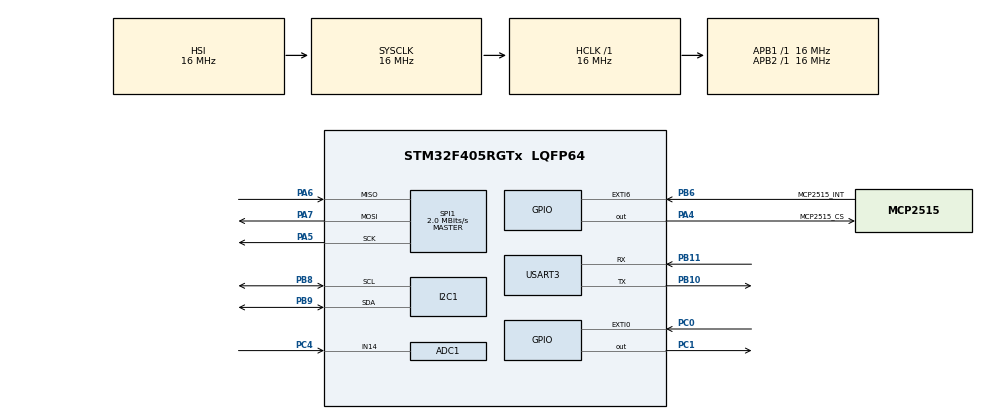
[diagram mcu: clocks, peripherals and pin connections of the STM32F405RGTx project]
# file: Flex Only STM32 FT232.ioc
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ADC1.Channel-0\#ChannelRegularConversion=ADC_CHANNEL_14
ADC1.NbrOfConversionFlag=1
ADC1.Rank-0\#ChannelRegularConversion=1
ADC1.SamplingTime-0\#ChannelRegularConversion=ADC_SAMPLETIME_3CYCLES
ADC1.master=1
Mcu.Family=STM32F4
Mcu.Name=STM32F405RGTx
Mcu.Package=LQFP64
NVIC.PriorityGroup=NVIC_PRIORITYGROUP_4
PA13.Mode=Serial_Wire
PA13.Signal=SYS_JTMS-SWDIO
PA14.Mode=Serial_Wire
PA14.Signal=SYS_JTCK-SWCLK
PA4.GPIO_Label=MCP2515_CS
PA4.Signal=GPIO_Output
PA5.Mode=Full_Duplex_Master
PA5.Signal=SPI1_SCK
PA6.Mode=Full_Duplex_Master
PA6.Signal=SPI1_MISO
PA7.Mode=Full_Duplex_Master
PA7.Signal=SPI1_MOSI
PB10.Mode=Asynchronous
PB10.Signal=USART3_TX
PB11.Mode=Asynchronous
PB11.Signal=USART3_RX
PB6.GPIO_Label=MCP2515_INT
PB6.Signal=GPXTI6
PB8.Mode=I2C
PB8.Signal=I2C1_SCL
PB9.Mode=I2C
PB9.Signal=I2C1_SDA
PC0.Signal=GPXTI0
PC1.Signal=GPIO_Output
PC4.Signal=ADCx_IN14
ProjectManager.HeapSize=0x200
ProjectManager.StackSize=0x400
ProjectManager.TargetToolchain=STM32CubeIDE
RCC.AHBFreq_Value=16000000
RCC.APB1Freq_Value=16000000
RCC.APB2Freq_Value=16000000
RCC.CortexFreq_Value=16000000
RCC.HSE_VALUE=25000000
RCC.HSI_VALUE=16000000
RCC.LSE_VALUE=32768
RCC.SYSCLKFreq_VALUE=16000000
RCC.VCOOutputFreq_Value=192000000
SH.ADCx_IN14.0=ADC1_IN14,IN14
SPI1.BaudRatePrescaler=SPI_BAUDRATEPRESCALER_8
SPI1.CalculateBaudRate=2.0 MBits/s
SPI1.Direction=SPI_DIRECTION_2LINES
SPI1.Mode=SPI_MODE_MASTER
SPI1.VirtualType=VM_MASTER
USART3.VirtualMode=VM_ASYNC
board=custom

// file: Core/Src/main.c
/* USER CODE BEGIN Header */
/**
 ******************************************************************************
 * @file           : main.c
 * @brief          : Main program body
 ******************************************************************************
 * @attention
 *
 * Copyright (c) 2026 STMicroelectronics.
 * All rights reserved.
 *
 * This software is licensed under terms that can be found in the LICENSE file
 * in the root directory of this software component.
 * If no LICENSE file comes with this software, it is provided AS-IS.
 *
 ******************************************************************************
 */
/* USER CODE END Header */
#include "main.h"
#include "bno085_stm32_hal.h"
#include "sh2.h"
#include "sh2_err.h"
#include "sh2_SensorValue.h"

/* USER CODE BEGIN Includes */
#include <stdio.h>
#include <string.h>
/* USER CODE END Includes */

/* USER CODE BEGIN PD */
#define FLEX_STRAIGHT_RAW 2135U
#define FLEX_BENT_RAW 1144U
#define TELEMETRY_INTERVAL_MS 200U
#define MCP2515_CAN_ID_QUATERNION 0x100U
#define MCP2515_CAN_ID_FLEX 0x101U
#define MCP2515_CAN_ID_ACCELERATION 0x102U
#define MCP2515_SPI_TIMEOUT_MS 10U
#define MCP2515_MODE_TIMEOUT_MS 100U
/* USER CODE END PD */

ADC_HandleTypeDef hadc1;

I2C_HandleTypeDef hi2c1;

SPI_HandleTypeDef hspi1;

UART_HandleTypeDef huart3;

/* USER CODE BEGIN PV */

/* ADC raw value (12-bit: 0–4095) */
static uint32_t adc_raw = 0;

/* Transmit buffer for flex, quaternion, and acceleration telemetry */
static char tx_buf[256];

static volatile uint8_t bno_reset_seen;
static volatile uint8_t quat_valid;
static volatile uint8_t accel_valid;
static volatile float quat_i;
static volatile float quat_j;
static volatile float quat_k;
static volatile float quat_real = 1.0f;
static volatile float accel_x;
static volatile float accel_y;
static volatile float accel_z;
static uint8_t bno_connected;
static uint8_t mcp2515_ready;

/* USER CODE END PV */

void SystemClock_Config(void);
static void MX_GPIO_Init(void);
static void MX_ADC1_Init(void);
static void MX_USART3_UART_Init(void);
static void MX_I2C1_Init(void);
static void MX_SPI1_Init(void);
/* USER CODE BEGIN PFP */
static void BNO085_EventCallback(void *cookie, sh2_AsyncEvent_t *event);
static void BNO085_SensorCallback(void *cookie, sh2_SensorEvent_t *event);
static void FormatQuatComponent(char *buffer, size_t buffer_len, float value);
static void FormatAccelComponent(char *buffer, size_t buffer_len, float value);
static uint8_t MCP2515_Init(void);
static uint8_t MCP2515_SetMode(uint8_t mode);
static HAL_StatusTypeDef MCP2515_ReadRegister(uint8_t address, uint8_t *value);
static HAL_StatusTypeDef MCP2515_WriteRegisters(uint8_t address,
                                                const uint8_t *data,
                                                uint8_t length);
static HAL_StatusTypeDef MCP2515_BitModify(uint8_t address, uint8_t mask,
                                           uint8_t value);
static HAL_StatusTypeDef MCP2515_SendFrame(uint16_t id, const uint8_t *data,
                                           uint8_t length);
/* USER CODE END PFP */

/* USER CODE BEGIN 0 */

/**
 * @brief  Send a null-terminated string over USART3.
 * @param  str  Pointer to the string to transmit.
 */
static void UART_Print(const char *str)
{
  HAL_UART_Transmit(&huart3, (uint8_t *)str, (uint16_t)strlen(str), HAL_MAX_DELAY);
}

/**
 * @brief  Read a single conversion from ADC1 (Channel 14, PC4).
 * @return 12-bit ADC result (0–4095).
 */
static uint32_t ADC_ReadChannel(void)
{
  HAL_ADC_Start(&hadc1);
  HAL_ADC_PollForConversion(&hadc1, HAL_MAX_DELAY);
  uint32_t val = HAL_ADC_GetValue(&hadc1);
  HAL_ADC_Stop(&hadc1);
  return val;
}

static void BNO085_EventCallback(void *cookie, sh2_AsyncEvent_t *event)
{
  (void)cookie;

  if (event != NULL && event->eventId == SH2_RESET)
  {
    quat_valid = 0U;
    accel_valid = 0U;
    bno_reset_seen = 1U;
  }
}

static void BNO085_SensorCallback(void *cookie, sh2_SensorEvent_t *event)
{
  sh2_SensorValue_t value;

  (void)cookie;

  if (event == NULL || sh2_decodeSensorEvent(&value, event) != SH2_OK)
  {
    return;
  }

  if (value.sensorId == SH2_ACCELEROMETER)
  {
    accel_x = value.un.accelerometer.x;
    accel_y = value.un.accelerometer.y;
    accel_z = value.un.accelerometer.z;
    accel_valid = 1U;
    return;
  }

  if (value.sensorId != SH2_ROTATION_VECTOR)
  {
    return;
  }

  quat_i = value.un.rotationVector.i;
  quat_j = value.un.rotationVector.j;
  quat_k = value.un.rotationVector.k;
  quat_real = value.un.rotationVector.real;
  quat_valid = 1U;
}

static void FormatQuatComponent(char *buffer, size_t buffer_len, float value)
{
  int32_t scaled = (int32_t)(value * 10000.0f);
  const char *sign = (scaled < 0) ? "-" : " ";

  if (scaled < 0)
  {
    scaled = -scaled;
  }

  snprintf(buffer, buffer_len, "%s%ld.%04ld", sign,
           (long)(scaled / 10000), (long)(scaled % 10000));
}

static void FormatAccelComponent(char *buffer, size_t buffer_len, float value)
{
  int32_t scaled = (int32_t)(value * 100.0f);
  const char *sign = (scaled < 0) ? "-" : " ";

  if (scaled < 0)
  {
    scaled = -scaled;
  }

  snprintf(buffer, buffer_len, "%s%ld.%02ld", sign,
           (long)(scaled / 100), (long)(scaled % 100));
}

#define MCP2515_CMD_RESET 0xC0U
#define MCP2515_CMD_READ 0x03U
#define MCP2515_CMD_WRITE 0x02U
#define MCP2515_CMD_BIT_MODIFY 0x05U
#define MCP2515_CMD_RTS 0x80U
#define MCP2515_REG_CANSTAT 0x0EU
#define MCP2515_REG_CANCTRL 0x0FU
#define MCP2515_REG_CNF3 0x28U
#define MCP2515_REG_CNF2 0x29U
#define MCP2515_REG_CNF1 0x2AU
#define MCP2515_REG_CANINTE 0x2BU
#define MCP2515_REG_TXB0CTRL 0x30U
#define MCP2515_REG_TXB1CTRL 0x40U
#define MCP2515_REG_TXB2CTRL 0x50U
#define MCP2515_TXREQ_MASK 0x08U
#define MCP2515_MODE_MASK 0xE0U
#define MCP2515_MODE_CONFIG 0x80U
#define MCP2515_MODE_NORMAL 0x00U

static void MCP2515_Select(void)
{
  HAL_GPIO_WritePin(MCP2515_CS_GPIO_Port, MCP2515_CS_Pin, GPIO_PIN_RESET);
}

static void MCP2515_Deselect(void)
{
  HAL_GPIO_WritePin(MCP2515_CS_GPIO_Port, MCP2515_CS_Pin, GPIO_PIN_SET);
}

static HAL_StatusTypeDef MCP2515_Command(uint8_t command)
{
  HAL_StatusTypeDef status;

  MCP2515_Select();
  status = HAL_SPI_Transmit(&hspi1, &command, 1U, MCP2515_SPI_TIMEOUT_MS);
  MCP2515_Deselect();
  return status;
}

static HAL_StatusTypeDef MCP2515_ReadRegister(uint8_t address, uint8_t *value)
{
  uint8_t command[2] = {MCP2515_CMD_READ, address};
  uint8_t dummy = 0U;
  HAL_StatusTypeDef status;

  MCP2515_Select();
  status = HAL_SPI_Transmit(&hspi1, command, sizeof(command),
                            MCP2515_SPI_TIMEOUT_MS);
  if (status == HAL_OK)
  {
    status = HAL_SPI_TransmitReceive(&hspi1, &dummy, value, 1U,
                                     MCP2515_SPI_TIMEOUT_MS);
  }
  MCP2515_Deselect();
  return status;
}

static HAL_StatusTypeDef MCP2515_WriteRegisters(uint8_t address,
                                                const uint8_t *data,
                                                uint8_t length)
{
  uint8_t command[2] = {MCP2515_CMD_WRITE, address};
  HAL_StatusTypeDef status;

  MCP2515_Select();
  status = HAL_SPI_Transmit(&hspi1, command, sizeof(command),
                            MCP2515_SPI_TIMEOUT_MS);
  if (status == HAL_OK)
  {
    status = HAL_SPI_Transmit(&hspi1, (uint8_t *)data, length,
                              MCP2515_SPI_TIMEOUT_MS);
  }
  MCP2515_Deselect();
  return status;
}

static HAL_StatusTypeDef MCP2515_BitModify(uint8_t address, uint8_t mask,
                                           uint8_t value)
{
  uint8_t command[4] = {MCP2515_CMD_BIT_MODIFY, address, mask, value};
  HAL_StatusTypeDef status;

  MCP2515_Select();
  status = HAL_SPI_Transmit(&hspi1, command, sizeof(command),
                            MCP2515_SPI_TIMEOUT_MS);
  MCP2515_Deselect();
  return status;
}

static uint8_t MCP2515_SetMode(uint8_t mode)
{
  uint32_t start_tick;
  uint8_t can_status;

  if (MCP2515_BitModify(MCP2515_REG_CANCTRL, MCP2515_MODE_MASK, mode) != HAL_OK)
  {
    return 0U;
  }

  start_tick = HAL_GetTick();
  do
  {
    if (MCP2515_ReadRegister(MCP2515_REG_CANSTAT, &can_status) != HAL_OK)
    {
      return 0U;
    }
    if ((can_status & MCP2515_MODE_MASK) == mode)
    {
      return 1U;
    }
  } while ((uint32_t)(HAL_GetTick() - start_tick) < MCP2515_MODE_TIMEOUT_MS);

  return 0U;
}

static uint8_t MCP2515_Init(void)
{
  const uint8_t cnf1 = 0x00U;
  const uint8_t cnf2 = 0x90U;
  const uint8_t cnf3 = 0x02U;
  const uint8_t interrupts_disabled = 0x00U;

  MCP2515_Deselect();
  if (MCP2515_Command(MCP2515_CMD_RESET) != HAL_OK)
  {
    return 0U;
  }
  HAL_Delay(2U);

  if (!MCP2515_SetMode(MCP2515_MODE_CONFIG) ||
      MCP2515_WriteRegisters(MCP2515_REG_CNF1, &cnf1, 1U) != HAL_OK ||
      MCP2515_WriteRegisters(MCP2515_REG_CNF2, &cnf2, 1U) != HAL_OK ||
      MCP2515_WriteRegisters(MCP2515_REG_CNF3, &cnf3, 1U) != HAL_OK ||
      MCP2515_WriteRegisters(MCP2515_REG_CANINTE, &interrupts_disabled, 1U) != HAL_OK ||
      !MCP2515_SetMode(MCP2515_MODE_NORMAL))
  {
    return 0U;
  }

  return 1U;
}

static HAL_StatusTypeDef MCP2515_SendFrame(uint16_t id, const uint8_t *data,
                                           uint8_t length)
{
  static const uint8_t tx_control_addresses[3] = {
      MCP2515_REG_TXB0CTRL, MCP2515_REG_TXB1CTRL, MCP2515_REG_TXB2CTRL};
  uint8_t tx_control;
  uint8_t tx_buffer[13];
  uint8_t buffer_index;

  if (id > 0x7FFU || length > 8U || data == NULL)
  {
    return HAL_ERROR;
  }

  for (buffer_index = 0U; buffer_index < 3U; buffer_index++)
  {
    if (MCP2515_ReadRegister(tx_control_addresses[buffer_index],
                            &tx_control) != HAL_OK)
    {
      return HAL_ERROR;
    }
    if ((tx_control & MCP2515_TXREQ_MASK) == 0U)
    {
      break;
    }
  }
  if (buffer_index == 3U)
  {
    return HAL_BUSY;
  }

  tx_buffer[0] = (uint8_t)(id >> 3);
  tx_buffer[1] = (uint8_t)((id & 0x07U) << 5);
  tx_buffer[2] = 0U;
  tx_buffer[3] = 0U;
  tx_buffer[4] = length;
  memcpy(&tx_buffer[5], data, length);

  if (MCP2515_WriteRegisters((uint8_t)(tx_control_addresses[buffer_index] + 1U),
                             tx_buffer, (uint8_t)(length + 5U)) != HAL_OK)
  {
    return HAL_ERROR;
  }

  return MCP2515_Command((uint8_t)(MCP2515_CMD_RTS | (1U << buffer_index)));
}

static int16_t MCP2515_ScaleQuaternion(float value)
{
  return (int16_t)(value * 10000.0f);
}

static int16_t MCP2515_ScaleAcceleration(float value)
{
  return (int16_t)(value * 100.0f);
}

static void MCP2515_StoreInt16LE(uint8_t *data, int16_t value)
{
  uint16_t bits = (uint16_t)value;
  data[0] = (uint8_t)bits;
  data[1] = (uint8_t)(bits >> 8);
}

/* USER CODE END 0 */

int main(void)
{

  /* MCU Configuration--------------------------------------------------------*/

  /* Reset of all peripherals, Initializes the Flash interface and the Systick. */
  HAL_Init();

  /* Configure the system clock */
  SystemClock_Config();

  /* Initialize all configured peripherals */
  MX_GPIO_Init();
  MX_ADC1_Init();
  MX_USART3_UART_Init();
  MX_I2C1_Init();
  MX_SPI1_Init();
  /* USER CODE BEGIN 2 */

  /* -----------------------------------------------------------
   * Startup banner sent over UART to the PC (via FT232).
   * Open any serial terminal at 115200-8-N-1 to see output.
   * ----------------------------------------------------------- */
  UART_Print("\r\n=== STM32F405 Flex Sensor & BNO085 Telemetry ===\r\n");
  UART_Print("ADC: PC4 (CH14) | USART3: PB10/PB11 | 115200-8-N-1\r\n");
  UART_Print("BNO085 I2C1: PB8(SCL), PB9(SDA), INT: PC0, RST: PC1, addr: 0x4B\r\n");

  mcp2515_ready = MCP2515_Init();
  if (mcp2515_ready)
  {
    UART_Print("MCP2515: initialized for 500 kbit/s (8 MHz crystal)\r\n");
  }
  else
  {
    UART_Print("MCP2515: initialization failed; CAN telemetry disabled\r\n");
  }

  if (sh2_open(BNO085_STM32_HAL_Init(), BNO085_EventCallback, NULL) != SH2_OK)
  {
    UART_Print("BNO085: SH-2 initialization failed\r\n");
  }
  else if (sh2_setSensorCallback(BNO085_SensorCallback, NULL) != SH2_OK)
  {
    UART_Print("BNO085: sensor callback registration failed\r\n");
    sh2_close();
  }
  else
  {
    bno_connected = 1U;
    UART_Print("BNO085: connected; waiting for reset event and sensor data\r\n");
  }

  /* USER CODE END 2 */

  /* Infinite loop */
  /* USER CODE BEGIN WHILE */
  uint32_t last_telemetry_tick = HAL_GetTick() - TELEMETRY_INTERVAL_MS;
  while (1)
  {
    if (bno_connected)
    {
      sh2_service();

      if (bno_reset_seen)
      {
        sh2_SensorConfig_t config = {0};
        bno_reset_seen = 0U;
        config.reportInterval_us = 20000U;

        if (sh2_setSensorConfig(SH2_ROTATION_VECTOR, &config) != SH2_OK)
        {
          UART_Print("BNO085: failed to enable Rotation Vector report\r\n");
        }
        if (sh2_setSensorConfig(SH2_ACCELEROMETER, &config) != SH2_OK)
        {
          UART_Print("BNO085: failed to enable Accelerometer report\r\n");
        }
      }
    }

    uint32_t now = HAL_GetTick();
    if ((uint32_t)(now - last_telemetry_tick) >= TELEMETRY_INTERVAL_MS)
    {
      char str_i[14], str_j[14], str_k[14], str_real[14];
      char str_ax[14], str_ay[14], str_az[14];
      uint32_t voltage_mv;
      int32_t bend_pct;

      last_telemetry_tick = now;
      adc_raw = ADC_ReadChannel();
      voltage_mv = (adc_raw * 3300UL) / 4095UL;

      if (adc_raw >= FLEX_STRAIGHT_RAW)
      {
        bend_pct = 0;
      }
      else if (adc_raw <= FLEX_BENT_RAW)
      {
        bend_pct = 100;
      }
      else
      {
        bend_pct = (int32_t)((FLEX_STRAIGHT_RAW - adc_raw) * 100UL /
                             (FLEX_STRAIGHT_RAW - FLEX_BENT_RAW));
      }

      if (bno_connected && quat_valid)
      {
        FormatQuatComponent(str_i, sizeof(str_i), quat_i);
        FormatQuatComponent(str_j, sizeof(str_j), quat_j);
        FormatQuatComponent(str_k, sizeof(str_k), quat_k);
        FormatQuatComponent(str_real, sizeof(str_real), quat_real);
      }
      if (bno_connected && accel_valid)
      {
        FormatAccelComponent(str_ax, sizeof(str_ax), accel_x);
        FormatAccelComponent(str_ay, sizeof(str_ay), accel_y);
        FormatAccelComponent(str_az, sizeof(str_az), accel_z);
      }

      if (bno_connected && quat_valid && accel_valid)
      {
        snprintf(tx_buf, sizeof(tx_buf),
                 "Volt: %lu.%03lu V | Bend: %3ld%% | Quat: [i:%s j:%s k:%s real:%s] | Accel (m/s^2): [ax:%s ay:%s az:%s]\r\n",
                 (unsigned long)(voltage_mv / 1000UL),
                 (unsigned long)(voltage_mv % 1000UL),
                 (long)bend_pct, str_i, str_j, str_k, str_real,
                 str_ax, str_ay, str_az);
      }
      else if (bno_connected && quat_valid)
      {
        snprintf(tx_buf, sizeof(tx_buf),
                 "Volt: %lu.%03lu V | Bend: %3ld%% | Quat: [i:%s j:%s k:%s real:%s] | Accel: waiting\r\n",
                 (unsigned long)(voltage_mv / 1000UL),
                 (unsigned long)(voltage_mv % 1000UL),
                 (long)bend_pct, str_i, str_j, str_k, str_real);
      }
      else if (bno_connected && accel_valid)
      {
        snprintf(tx_buf, sizeof(tx_buf),
                 "Volt: %lu.%03lu V | Bend: %3ld%% | Quat: waiting | Accel (m/s^2): [ax:%s ay:%s az:%s]\r\n",
                 (unsigned long)(voltage_mv / 1000UL),
                 (unsigned long)(voltage_mv % 1000UL),
                 (long)bend_pct, str_ax, str_ay, str_az);
      }
      else if (bno_connected)
      {
        snprintf(tx_buf, sizeof(tx_buf),
                 "Volt: %lu.%03lu V | Bend: %3ld%% | BNO085: FOUND, waiting for sensor data\r\n",
                 (unsigned long)(voltage_mv / 1000UL),
                 (unsigned long)(voltage_mv % 1000UL),
                 (long)bend_pct);
      }
      else
      {
        snprintf(tx_buf, sizeof(tx_buf),
                 "Volt: %lu.%03lu V | Bend: %3ld%% | BNO085: NOT FOUND\r\n",
                 (unsigned long)(voltage_mv / 1000UL),
                 (unsigned long)(voltage_mv % 1000UL),
                 (long)bend_pct);
      }

      UART_Print(tx_buf);

      if (mcp2515_ready)
      {
        uint8_t flex_data[8] = {0};
        HAL_StatusTypeDef can_status;

        flex_data[0] = (uint8_t)adc_raw;
        flex_data[1] = (uint8_t)(adc_raw >> 8);
        flex_data[2] = (uint8_t)bend_pct;
        can_status = MCP2515_SendFrame(MCP2515_CAN_ID_FLEX, flex_data,
                                       sizeof(flex_data));
        if (can_status != HAL_OK)
        {
          UART_Print("MCP2515: flex CAN frame transmit failed\r\n");
        }

        if (bno_connected && quat_valid)
        {
          uint8_t quaternion_data[8];
          MCP2515_StoreInt16LE(&quaternion_data[0], MCP2515_ScaleQuaternion(quat_i));
          MCP2515_StoreInt16LE(&quaternion_data[2], MCP2515_ScaleQuaternion(quat_j));
          MCP2515_StoreInt16LE(&quaternion_data[4], MCP2515_ScaleQuaternion(quat_k));
          MCP2515_StoreInt16LE(&quaternion_data[6], MCP2515_ScaleQuaternion(quat_real));
          can_status = MCP2515_SendFrame(MCP2515_CAN_ID_QUATERNION,
                                         quaternion_data,
                                         sizeof(quaternion_data));
          if (can_status != HAL_OK)
          {
            UART_Print("MCP2515: quaternion CAN frame transmit failed\r\n");
          }
        }

        if (bno_connected && accel_valid)
        {
          uint8_t acceleration_data[8] = {0};
          MCP2515_StoreInt16LE(&acceleration_data[0],
                               MCP2515_ScaleAcceleration(accel_x));
          MCP2515_StoreInt16LE(&acceleration_data[2],
                               MCP2515_ScaleAcceleration(accel_y));
          MCP2515_StoreInt16LE(&acceleration_data[4],
                               MCP2515_ScaleAcceleration(accel_z));
          can_status = MCP2515_SendFrame(MCP2515_CAN_ID_ACCELERATION,
                                         acceleration_data,
                                         sizeof(acceleration_data));
          if (can_status != HAL_OK)
          {
            UART_Print("MCP2515: acceleration CAN frame transmit failed\r\n");
          }
        }
      }
    }

    HAL_Delay(1U);
    /* USER CODE END WHILE */

  }
}

void SystemClock_Config(void)
{
  RCC_OscInitTypeDef RCC_OscInitStruct = {0};
  RCC_ClkInitTypeDef RCC_ClkInitStruct = {0};

  /** Configure the main internal regulator output voltage
  */
  __HAL_RCC_PWR_CLK_ENABLE();
  __HAL_PWR_VOLTAGESCALING_CONFIG(PWR_REGULATOR_VOLTAGE_SCALE1);

  /** Initializes the RCC Oscillators according to the specified parameters
  * in the RCC_OscInitTypeDef structure.
  */
  RCC_OscInitStruct.OscillatorType = RCC_OSCILLATORTYPE_HSI;
  RCC_OscInitStruct.HSIState = RCC_HSI_ON;
  RCC_OscInitStruct.HSICalibrationValue = RCC_HSICALIBRATION_DEFAULT;
  RCC_OscInitStruct.PLL.PLLState = RCC_PLL_NONE;
  if (HAL_RCC_OscConfig(&RCC_OscInitStruct) != HAL_OK)
  {
    Error_Handler();
  }

  /** Initializes the CPU, AHB and APB buses clocks
  */
  RCC_ClkInitStruct.ClockType = RCC_CLOCKTYPE_HCLK|RCC_CLOCKTYPE_SYSCLK
                              |RCC_CLOCKTYPE_PCLK1|RCC_CLOCKTYPE_PCLK2;
  RCC_ClkInitStruct.SYSCLKSource = RCC_SYSCLKSOURCE_HSI;
  RCC_ClkInitStruct.AHBCLKDivider = RCC_SYSCLK_DIV1;
  RCC_ClkInitStruct.APB1CLKDivider = RCC_HCLK_DIV1;
  RCC_ClkInitStruct.APB2CLKDivider = RCC_HCLK_DIV1;

  if (HAL_RCC_ClockConfig(&RCC_ClkInitStruct, FLASH_LATENCY_0) != HAL_OK)
  {
    Error_Handler();
  }
}

static void MX_ADC1_Init(void)
{

  ADC_ChannelConfTypeDef sConfig = {0};

  /** Configure the global features of the ADC (Clock, Resolution, Data Alignment and number of conversion)
  */
  hadc1.Instance = ADC1;
  hadc1.Init.ClockPrescaler = ADC_CLOCK_SYNC_PCLK_DIV2;
  hadc1.Init.Resolution = ADC_RESOLUTION_12B;
  hadc1.Init.ScanConvMode = DISABLE;
  hadc1.Init.ContinuousConvMode = DISABLE;
  hadc1.Init.DiscontinuousConvMode = DISABLE;
  hadc1.Init.ExternalTrigConvEdge = ADC_EXTERNALTRIGCONVEDGE_NONE;
  hadc1.Init.ExternalTrigConv = ADC_SOFTWARE_START;
  hadc1.Init.DataAlign = ADC_DATAALIGN_RIGHT;
  hadc1.Init.NbrOfConversion = 1;
  hadc1.Init.DMAContinuousRequests = DISABLE;
  hadc1.Init.EOCSelection = ADC_EOC_SINGLE_CONV;
  if (HAL_ADC_Init(&hadc1) != HAL_OK)
  {
    Error_Handler();
  }

  /** Configure for the selected ADC regular channel its corresponding rank in the sequencer and its sample time.
  */
  sConfig.Channel = ADC_CHANNEL_14;
  sConfig.Rank = 1;
  sConfig.SamplingTime = ADC_SAMPLETIME_3CYCLES;
  if (HAL_ADC_ConfigChannel(&hadc1, &sConfig) != HAL_OK)
  {
    Error_Handler();
  }

}

static void MX_I2C1_Init(void)
{

  hi2c1.Instance = I2C1;
  hi2c1.Init.ClockSpeed = 100000;
  hi2c1.Init.DutyCycle = I2C_DUTYCYCLE_2;
  hi2c1.Init.OwnAddress1 = 0;
  hi2c1.Init.AddressingMode = I2C_ADDRESSINGMODE_7BIT;
  hi2c1.Init.DualAddressMode = I2C_DUALADDRESS_DISABLE;
  hi2c1.Init.OwnAddress2 = 0;
  hi2c1.Init.GeneralCallMode = I2C_GENERALCALL_DISABLE;
  hi2c1.Init.NoStretchMode = I2C_NOSTRETCH_DISABLE;
  if (HAL_I2C_Init(&hi2c1) != HAL_OK)
  {
    Error_Handler();
  }

}

static void MX_SPI1_Init(void)
{

  /* SPI1 parameter configuration*/
  hspi1.Instance = SPI1;
  hspi1.Init.Mode = SPI_MODE_MASTER;
  hspi1.Init.Direction = SPI_DIRECTION_2LINES;
  hspi1.Init.DataSize = SPI_DATASIZE_8BIT;
  hspi1.Init.CLKPolarity = SPI_POLARITY_LOW;
  hspi1.Init.CLKPhase = SPI_PHASE_1EDGE;
  hspi1.Init.NSS = SPI_NSS_SOFT;
  hspi1.Init.BaudRatePrescaler = SPI_BAUDRATEPRESCALER_8;
  hspi1.Init.FirstBit = SPI_FIRSTBIT_MSB;
  hspi1.Init.TIMode = SPI_TIMODE_DISABLE;
  hspi1.Init.CRCCalculation = SPI_CRCCALCULATION_DISABLE;
  hspi1.Init.CRCPolynomial = 10;
  if (HAL_SPI_Init(&hspi1) != HAL_OK)
  {
    Error_Handler();
  }

}

static void MX_USART3_UART_Init(void)
{

  huart3.Instance = USART3;
  huart3.Init.BaudRate = 115200;
  huart3.Init.WordLength = UART_WORDLENGTH_8B;
  huart3.Init.StopBits = UART_STOPBITS_1;
  huart3.Init.Parity = UART_PARITY_NONE;
  huart3.Init.Mode = UART_MODE_TX_RX;
  huart3.Init.HwFlowCtl = UART_HWCONTROL_NONE;
  huart3.Init.OverSampling = UART_OVERSAMPLING_16;
  if (HAL_UART_Init(&huart3) != HAL_OK)
  {
    Error_Handler();
  }

}

static void MX_GPIO_Init(void)
{
  GPIO_InitTypeDef GPIO_InitStruct = {0};

  /* GPIO Ports Clock Enable */
  __HAL_RCC_GPIOC_CLK_ENABLE();
  __HAL_RCC_GPIOA_CLK_ENABLE();
  __HAL_RCC_GPIOB_CLK_ENABLE();

  /*Configure GPIO pin Output Level */
  HAL_GPIO_WritePin(GPIOC, GPIO_PIN_1, GPIO_PIN_RESET);

  /*Configure GPIO pin Output Level */
  HAL_GPIO_WritePin(MCP2515_CS_GPIO_Port, MCP2515_CS_Pin, GPIO_PIN_SET);

  /*Configure GPIO pin : PC0 */
  GPIO_InitStruct.Pin = GPIO_PIN_0;
  GPIO_InitStruct.Mode = GPIO_MODE_IT_RISING;
  GPIO_InitStruct.Pull = GPIO_NOPULL;
  HAL_GPIO_Init(GPIOC, &GPIO_InitStruct);

  /*Configure GPIO pin : PC1 */
  GPIO_InitStruct.Pin = GPIO_PIN_1;
  GPIO_InitStruct.Mode = GPIO_MODE_OUTPUT_PP;
  GPIO_InitStruct.Pull = GPIO_NOPULL;
  GPIO_InitStruct.Speed = GPIO_SPEED_FREQ_LOW;
  HAL_GPIO_Init(GPIOC, &GPIO_InitStruct);

  /*Configure GPIO pin : MCP2515_CS_Pin */
  GPIO_InitStruct.Pin = MCP2515_CS_Pin;
  GPIO_InitStruct.Mode = GPIO_MODE_OUTPUT_PP;
  GPIO_InitStruct.Pull = GPIO_NOPULL;
  GPIO_InitStruct.Speed = GPIO_SPEED_FREQ_LOW;
  HAL_GPIO_Init(MCP2515_CS_GPIO_Port, &GPIO_InitStruct);

  /*Configure GPIO pin : MCP2515_INT_Pin */
  GPIO_InitStruct.Pin = MCP2515_INT_Pin;
  GPIO_InitStruct.Mode = GPIO_MODE_IT_RISING;
  GPIO_InitStruct.Pull = GPIO_NOPULL;
  HAL_GPIO_Init(MCP2515_INT_GPIO_Port, &GPIO_InitStruct);

  /* USER CODE BEGIN MX_GPIO_Init_2 */
  /* Keep BNO085 RST inactive; detection does not reset or configure the sensor. */
  HAL_GPIO_WritePin(GPIOC, GPIO_PIN_1, GPIO_PIN_SET);

  /* Configure PC0 as input with pull-up for BNO085 active-LOW INT */
  GPIO_InitStruct.Pin = GPIO_PIN_0;
  GPIO_InitStruct.Mode = GPIO_MODE_INPUT;
  GPIO_InitStruct.Pull = GPIO_PULLUP;
  HAL_GPIO_Init(GPIOC, &GPIO_InitStruct);
  /* USER CODE END MX_GPIO_Init_2 */
}

void Error_Handler(void)
{
  __disable_irq();
  while (1)
  {
  }
}
